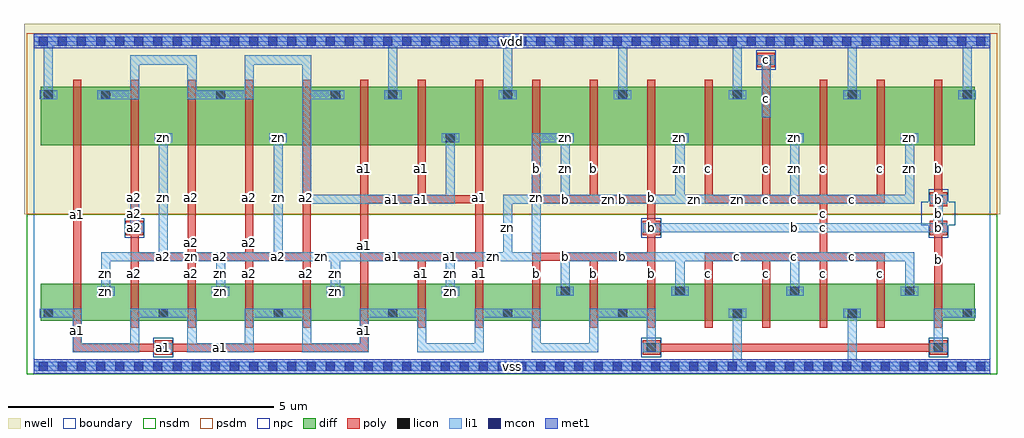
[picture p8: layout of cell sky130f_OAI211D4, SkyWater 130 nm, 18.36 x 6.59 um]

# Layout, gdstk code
import gdstk
lib = gdstk.Library(unit=1e-6, precision=1e-09)
def R(c, l, rs):  # rectangles x0, y0, x1, y1
    for r in rs: c.add(gdstk.rectangle(r[:2], r[2:], *l))
def A(c, l, x, y, w, h, nx, ny, dx, dy):  # array of equal rectangles
    R(c, l, [(x+i*dx, y+j*dy, x+i*dx+w, y+j*dy+h) for i in range(nx) for j in range(ny)])
def P(c, l, *ps):  # polygons
    for p in ps: c.add(gdstk.Polygon(p, *l))
L0_0 = (0, 0)
nwell = (64, 20)
diff = (65, 20)
poly = (66, 20)
licon = (66, 44)
li1 = (67, 20)
mcon = (67, 44)
met1 = (68, 20)
nsdm = (93, 44)
psdm = (94, 20)
npc = (95, 20)
boundary = (235, 4)

sky130f_oai211d4 = lib.new_cell('sky130f_OAI211D4')
R(sky130f_oai211d4, nwell, [(-0.18,2.86,18.18,6.445)])
A(sky130f_oai211d4, diff, 0.135, 0.86, 1.37, 0.7, 16, 1, 1.08, 0)
A(sky130f_oai211d4, diff, 0.135, 0.86, 0.29, 0.29, 9, 1, 2.16, 0)
A(sky130f_oai211d4, diff, 1.215, 1.27, 0.29, 0.29, 8, 1, 2.16, 0)
A(sky130f_oai211d4, diff, 0.135, 4.16, 1.37, 1.1, 16, 1, 1.08, 0)
A(sky130f_oai211d4, diff, 7.695, 4.16, 0.29, 0.29, 5, 1, 2.16, 0)
A(sky130f_oai211d4, diff, 1.215, 4.97, 0.29, 0.29, 3, 1, 2.16, 0)
A(sky130f_oai211d4, diff, 6.615, 4.97, 0.29, 0.29, 6, 1, 2.16, 0)
R(sky130f_oai211d4, diff, [(2.295,4.16,2.585,4.45), (4.455,4.16,4.745,4.45), (0.135,4.97,0.425,5.26)])
A(sky130f_oai211d4, poly, 0.745, 0.73, 0.15, 0.96, 16, 1, 1.08, 0)
A(sky130f_oai211d4, poly, 8.305, 1.34, 0.15, 0.8, 3, 1, 1.08, 0)
A(sky130f_oai211d4, poly, 10.465, 1.34, 0.15, 0.8, 6, 1, 1.08, 0)
A(sky130f_oai211d4, poly, 1.825, 1.99, 0.15, 2.39, 4, 1, 1.08, 0)
A(sky130f_oai211d4, poly, 12.625, 1.99, 1.23, 0.15, 3, 1, 1.08, 0)
A(sky130f_oai211d4, poly, 14.785, 3.07, 0.15, 1.31, 3, 1, 1.08, 0)
A(sky130f_oai211d4, poly, 0.745, 4.03, 0.15, 1.36, 16, 1, 1.08, 0)
R(sky130f_oai211d4, poly, [(2.275,0.22,2.605,0.49), (11.455,0.22,11.785,0.49), (16.855,0.22,17.185,0.49), (0.745,0.28,0.895,1.08), (0.745,0.28,6.295,0.43), (6.145,0.28,6.295,1.08), (11.545,0.28,17.095,0.43), (0.745,1.34,0.895,4.38), (1.825,1.34,1.975,2.14), (1.825,1.34,1.975,2.14), (2.905,1.34,3.055,2.14), (2.905,1.34,3.055,2.14), (2.905,1.34,3.055,2.14), (3.985,1.34,4.135,2.14), (3.985,1.34,4.135,2.14), (3.985,1.34,4.135,2.14), (3.985,1.34,4.135,2.14), (5.065,1.34,5.215,2.14), (5.065,1.34,5.215,2.14), (6.145,1.34,6.295,3.22), (7.225,1.34,7.375,2.14), (7.225,1.34,7.375,2.14), (8.305,1.34,8.455,2.14), (16.945,1.34,17.095,2.68), (1.825,1.99,3.055,2.14), (1.825,1.99,3.055,2.14), (2.365,1.99,3.055,2.14), (2.905,1.99,3.055,2.68), (2.905,1.99,3.055,2.68), (2.905,1.99,3.055,2.68), (2.905,1.99,4.135,2.14), (2.905,1.99,4.135,2.14), (2.905,1.99,3.595,2.14), (2.905,1.99,3.595,2.14), (2.905,1.99,3.595,2.14), (3.445,1.99,4.135,2.14), (3.445,1.99,4.135,2.14), (3.985,1.99,4.135,2.68), (3.985,1.99,5.215,2.14), (3.985,1.99,5.215,2.14), (3.985,1.99,4.675,2.14), (6.145,1.99,7.375,2.14), (7.225,1.99,8.455,2.14), (8.305,1.99,8.455,4.38), (9.385,1.99,10.615,2.14), (10.465,1.99,11.695,2.14), (11.545,1.99,11.695,4.38), (14.785,1.99,14.935,3.22), (1.735,2.47,2.065,2.74), (11.455,2.47,11.785,2.74), (16.855,2.47,17.185,2.74), (14.785,2.53,14.935,3.22), (16.855,3.01,17.185,3.28), (6.145,3.07,6.295,4.38), (6.145,3.07,7.375,3.22), (6.145,3.07,8.455,3.22), (7.225,3.07,7.375,4.38), (7.225,3.07,7.375,4.38), (9.385,3.07,9.535,4.38), (9.385,3.07,10.615,3.22), (10.465,3.07,10.615,4.38), (10.465,3.07,10.615,4.38), (10.465,3.07,11.695,3.22), (12.625,3.07,12.775,4.38), (12.625,3.07,14.935,3.22), (13.705,3.07,13.855,4.38), (13.705,3.07,13.855,4.38), (13.705,3.07,14.935,3.22), (14.785,3.07,14.935,4.38), (14.785,3.07,16.015,3.22), (13.705,4.23,13.855,5.84), (13.615,5.63,13.945,5.9)])
A(sky130f_oai211d4, licon, 0.195, 0.92, 0.17, 0.17, 9, 1, 2.16, 0)
A(sky130f_oai211d4, licon, 1.275, 1.33, 0.17, 0.17, 8, 1, 2.16, 0)
A(sky130f_oai211d4, licon, 7.755, 4.22, 0.17, 0.17, 5, 1, 2.16, 0)
A(sky130f_oai211d4, licon, 1.275, 5.03, 0.17, 0.17, 3, 1, 2.16, 0)
A(sky130f_oai211d4, licon, 6.675, 5.03, 0.17, 0.17, 6, 1, 2.16, 0)
R(sky130f_oai211d4, licon, [(2.355,0.27,2.525,0.44), (11.535,0.27,11.705,0.44), (16.935,0.27,17.105,0.44), (1.815,2.52,1.985,2.69), (11.535,2.52,11.705,2.69), (16.935,2.52,17.105,2.69), (16.935,3.06,17.105,3.23), (2.355,4.22,2.525,4.39), (4.515,4.22,4.685,4.39), (0.195,5.03,0.365,5.2), (13.695,5.68,13.865,5.85)])
A(sky130f_oai211d4, li1, 0.735, 0.27, 0.17, 0.82, 3, 1, 1.08, 0)
A(sky130f_oai211d4, li1, 0.115, 0.92, 0.33, 0.17, 9, 1, 2.16, 0)
A(sky130f_oai211d4, li1, 1.195, 1.33, 0.33, 0.17, 8, 1, 2.16, 0)
A(sky130f_oai211d4, li1, 7.755, 1.33, 0.17, 0.82, 5, 1, 2.16, 0)
A(sky130f_oai211d4, li1, 3.975, 1.98, 0.71, 0.17, 3, 1, 0.54, 0)
A(sky130f_oai211d4, li1, 12.075, 3.06, 0.17, 1.33, 3, 1, 2.16, 0)
A(sky130f_oai211d4, li1, 7.675, 4.22, 0.33, 0.17, 5, 1, 2.16, 0)
A(sky130f_oai211d4, li1, 1.195, 5.03, 0.33, 0.17, 3, 1, 2.16, 0)
A(sky130f_oai211d4, li1, 1.815, 5.03, 0.17, 0.82, 3, 1, 1.08, 0)
A(sky130f_oai211d4, li1, 6.595, 5.03, 0.33, 0.17, 6, 1, 2.16, 0)
A(sky130f_oai211d4, li1, 6.675, 5.03, 0.17, 1.03, 6, 1, 2.16, 0)
R(sky130f_oai211d4, li1, [(0,-0.085,18,0.085), (13.155,0.06,13.325,1.09), (15.315,0.06,15.485,1.09), (0.735,0.27,1.985,0.44), (2.275,0.27,2.605,0.44), (2.895,0.27,4.145,0.44), (2.895,0.27,4.145,0.44), (2.895,0.27,3.065,1.09), (3.975,0.27,4.145,1.09), (3.975,0.27,4.145,1.09), (5.055,0.27,6.305,0.44), (5.055,0.27,6.305,0.44), (5.055,0.27,6.305,0.44), (5.055,0.27,5.225,1.09), (5.055,0.27,5.225,1.09), (5.055,0.27,5.225,1.09), (6.135,0.27,6.305,1.09), (6.135,0.27,6.305,1.09), (6.135,0.27,6.305,1.09), (7.215,0.27,8.465,0.44), (7.215,0.27,8.465,0.44), (7.215,0.27,8.465,0.44), (7.215,0.27,7.385,1.09), (7.215,0.27,7.385,1.09), (7.215,0.27,7.385,1.09), (8.295,0.27,8.465,1.09), (8.295,0.27,8.465,1.09), (8.295,0.27,8.465,1.09), (9.375,0.27,10.625,0.44), (9.375,0.27,10.625,0.44), (9.375,0.27,9.545,1.09), (9.375,0.27,9.545,1.09), (10.455,0.27,10.625,1.09), (10.455,0.27,10.625,1.09), (11.455,0.27,11.785,0.44), (11.535,0.27,11.705,1.09), (16.855,0.27,17.185,0.44), (16.935,0.27,17.105,1.09), (0.195,0.92,0.905,1.09), (1.815,0.92,2.525,1.09), (1.815,0.92,2.525,1.09), (2.355,0.92,3.065,1.09), (2.355,0.92,3.065,1.09), (3.975,0.92,4.685,1.09), (3.975,0.92,4.685,1.09), (4.515,0.92,5.225,1.09), (4.515,0.92,5.225,1.09), (4.515,0.92,5.225,1.09), (6.135,0.92,6.845,1.09), (6.135,0.92,6.845,1.09), (6.135,0.92,6.845,1.09), (6.675,0.92,7.385,1.09), (6.675,0.92,7.385,1.09), (6.675,0.92,7.385,1.09), (6.675,0.92,7.385,1.09), (6.675,0.92,7.385,1.09), (6.675,0.92,7.385,1.09), (8.295,0.92,9.005,1.09), (8.295,0.92,9.005,1.09), (8.295,0.92,9.005,1.09), (8.835,0.92,9.545,1.09), (8.835,0.92,9.545,1.09), (8.835,0.92,9.545,1.09), (8.835,0.92,9.545,1.09), (10.455,0.92,11.165,1.09), (10.455,0.92,11.165,1.09), (10.995,0.92,11.705,1.09), (10.995,0.92,11.705,1.09), (16.935,0.92,17.645,1.09), (1.275,1.33,1.445,2.15), (3.435,1.33,3.605,2.15), (3.435,1.33,3.605,2.15), (5.595,1.33,5.765,2.15), (5.595,1.33,5.765,2.15), (5.595,1.33,5.765,2.15), (7.755,1.33,7.925,2.15), (7.755,1.33,7.925,2.15), (7.755,1.33,7.925,2.15), (1.275,1.98,3.605,2.15), (1.815,1.98,2.525,2.15), (2.355,1.98,2.525,4.39), (2.355,1.98,3.605,2.15), (2.895,1.98,3.605,2.15), (3.435,1.98,4.145,2.15), (3.435,1.98,4.145,2.15), (3.435,1.98,4.145,2.15), (3.435,1.98,5.765,2.15), (3.435,1.98,5.765,2.15), (3.975,1.98,5.765,2.15), (3.975,1.98,4.685,2.15), (4.515,1.98,4.685,4.39), (5.055,1.98,5.765,2.15), (5.595,1.98,7.385,2.15), (5.595,1.98,7.925,2.15), (5.595,1.98,7.925,2.15), (5.595,1.98,7.925,2.15), (5.595,1.98,7.925,2.15), (7.215,1.98,7.925,2.15), (7.755,1.98,9.545,2.15), (7.755,1.98,9.005,2.15), (7.755,1.98,9.005,2.15), (7.755,1.98,9.005,2.15), (8.835,1.98,9.005,3.23), (8.835,1.98,9.005,3.23), (8.835,1.98,9.005,3.23), (9.375,1.98,9.545,4.39), (9.915,1.98,14.405,2.15), (14.235,1.98,16.565,2.15), (1.735,2.52,2.065,2.69), (1.815,2.52,1.985,3.23), (11.455,2.52,11.785,2.69), (11.535,2.52,17.105,2.69), (16.855,2.52,17.185,2.69), (16.935,2.52,17.105,3.23), (5.055,3.06,7.925,3.23), (5.055,3.06,5.225,5.85), (7.755,3.06,7.925,4.39), (8.835,3.06,9.545,3.23), (8.835,3.06,9.545,3.23), (8.835,3.06,9.545,3.23), (9.375,3.06,12.245,3.23), (9.375,3.06,12.245,3.23), (9.375,3.06,12.245,3.23), (9.915,3.06,10.085,4.39), (9.915,3.06,10.085,4.39), (9.915,3.06,10.085,4.39), (12.075,3.06,12.785,3.23), (12.075,3.06,12.245,4.39), (12.075,3.06,12.245,4.39), (12.075,3.06,14.405,3.23), (12.075,3.06,16.565,3.23), (16.855,3.06,17.185,3.23), (2.275,4.22,2.605,4.39), (4.435,4.22,4.765,4.39), (9.375,4.22,10.085,4.39), (13.695,4.69,13.865,5.85), (0.115,5.03,0.445,5.2), (0.195,5.03,0.365,6.06), (1.275,5.03,1.985,5.2), (2.895,5.03,3.605,5.2), (3.435,5.03,4.145,5.2), (3.435,5.03,4.145,5.2), (3.975,5.03,4.145,5.85), (5.055,5.03,5.765,5.2), (5.055,5.03,5.225,5.85), (1.815,5.68,3.065,5.85), (3.975,5.68,5.225,5.85), (3.975,5.68,5.225,5.85), (13.615,5.68,13.945,5.85), (0,6.035,18,6.205)])
A(sky130f_oai211d4, mcon, 0.095, -0.085, 0.17, 0.17, 50, 2, 0.36, 6.12)
R(sky130f_oai211d4, met1, [(0,-0.135,18,0.135), (0,5.985,18,6.255)])
R(sky130f_oai211d4, nsdm, [(-0.125,-0.145,18.125,0.145), (-0.125,0.145,18.125,2.86)])
R(sky130f_oai211d4, psdm, [(-0.125,2.86,18.125,5.975), (-0.125,5.975,18.125,6.265)])
R(sky130f_oai211d4, npc, [(2.255,0.17,2.625,0.54), (11.435,0.17,11.805,0.54), (16.835,0.17,17.205,0.54), (1.715,2.42,2.085,2.79), (11.435,2.42,11.805,2.79), (13.595,5.58,13.965,5.95)])
P(sky130f_oai211d4, npc, [(16.835,2.42),(16.835,2.655),(16.7,2.655),(16.7,3.095),(16.835,3.095),(16.835,3.33),(17.205,3.33),(17.205,3.095),(17.34,3.095),(17.34,2.655),(17.205,2.655),(17.205,2.42)])
R(sky130f_oai211d4, boundary, [(0,0,18,6.12)])
sky130f_oai211d4.add(gdstk.FlexPath([(0.115,0.355),(17.725,0.355)], 0, ends="flush", simple_path=True, layer=0, datatype=0))  # L0_0
sky130f_oai211d4.add(gdstk.FlexPath([(0.115,1.005),(17.725,1.005)], 0, ends="flush", simple_path=True, layer=0, datatype=0))  # L0_0
sky130f_oai211d4.add(gdstk.FlexPath([(0.115,1.415),(17.725,1.415)], 0, ends="flush", simple_path=True, layer=0, datatype=0))  # L0_0
sky130f_oai211d4.add(gdstk.FlexPath([(0.115,2.065),(17.725,2.065)], 0, ends="flush", simple_path=True, layer=0, datatype=0))  # L0_0
sky130f_oai211d4.add(gdstk.FlexPath([(0.115,2.605),(17.725,2.605)], 0, ends="flush", simple_path=True, layer=0, datatype=0))  # L0_0
sky130f_oai211d4.add(gdstk.FlexPath([(0.115,3.145),(17.725,3.145)], 0, ends="flush", simple_path=True, layer=0, datatype=0))  # L0_0
sky130f_oai211d4.add(gdstk.FlexPath([(0.115,4.305),(17.725,4.305)], 0, ends="flush", simple_path=True, layer=0, datatype=0))  # L0_0
sky130f_oai211d4.add(gdstk.FlexPath([(0.115,4.775),(17.725,4.775)], 0, ends="flush", simple_path=True, layer=0, datatype=0))  # L0_0
sky130f_oai211d4.add(gdstk.FlexPath([(0.115,5.115),(17.725,5.115)], 0, ends="flush", simple_path=True, layer=0, datatype=0))  # L0_0
sky130f_oai211d4.add(gdstk.FlexPath([(0.115,5.765),(17.725,5.765)], 0, ends="flush", simple_path=True, layer=0, datatype=0))  # L0_0
sky130f_oai211d4.add(gdstk.FlexPath([(0.28,0.06),(0.28,6.06)], 0, ends="flush", simple_path=True, layer=0, datatype=0))  # L0_0
sky130f_oai211d4.add(gdstk.FlexPath([(0.82,0.06),(0.82,6.06)], 0, ends="flush", simple_path=True, layer=0, datatype=0))  # L0_0
sky130f_oai211d4.add(gdstk.FlexPath([(1.36,0.06),(1.36,6.06)], 0, ends="flush", simple_path=True, layer=0, datatype=0))  # L0_0
sky130f_oai211d4.add(gdstk.FlexPath([(1.9,0.06),(1.9,6.06)], 0, ends="flush", simple_path=True, layer=0, datatype=0))  # L0_0
sky130f_oai211d4.add(gdstk.FlexPath([(2.44,0.06),(2.44,6.06)], 0, ends="flush", simple_path=True, layer=0, datatype=0))  # L0_0
sky130f_oai211d4.add(gdstk.FlexPath([(2.98,0.06),(2.98,6.06)], 0, ends="flush", simple_path=True, layer=0, datatype=0))  # L0_0
sky130f_oai211d4.add(gdstk.FlexPath([(3.52,0.06),(3.52,6.06)], 0, ends="flush", simple_path=True, layer=0, datatype=0))  # L0_0
sky130f_oai211d4.add(gdstk.FlexPath([(4.06,0.06),(4.06,6.06)], 0, ends="flush", simple_path=True, layer=0, datatype=0))  # L0_0
sky130f_oai211d4.add(gdstk.FlexPath([(4.6,0.06),(4.6,6.06)], 0, ends="flush", simple_path=True, layer=0, datatype=0))  # L0_0
sky130f_oai211d4.add(gdstk.FlexPath([(5.14,0.06),(5.14,6.06)], 0, ends="flush", simple_path=True, layer=0, datatype=0))  # L0_0
sky130f_oai211d4.add(gdstk.FlexPath([(5.68,0.06),(5.68,6.06)], 0, ends="flush", simple_path=True, layer=0, datatype=0))  # L0_0
sky130f_oai211d4.add(gdstk.FlexPath([(6.22,0.06),(6.22,6.06)], 0, ends="flush", simple_path=True, layer=0, datatype=0))  # L0_0
sky130f_oai211d4.add(gdstk.FlexPath([(6.76,0.06),(6.76,6.06)], 0, ends="flush", simple_path=True, layer=0, datatype=0))  # L0_0
sky130f_oai211d4.add(gdstk.FlexPath([(7.3,0.06),(7.3,6.06)], 0, ends="flush", simple_path=True, layer=0, datatype=0))  # L0_0
sky130f_oai211d4.add(gdstk.FlexPath([(7.84,0.06),(7.84,6.06)], 0, ends="flush", simple_path=True, layer=0, datatype=0))  # L0_0
sky130f_oai211d4.add(gdstk.FlexPath([(8.38,0.06),(8.38,6.06)], 0, ends="flush", simple_path=True, layer=0, datatype=0))  # L0_0
sky130f_oai211d4.add(gdstk.FlexPath([(8.92,0.06),(8.92,6.06)], 0, ends="flush", simple_path=True, layer=0, datatype=0))  # L0_0
sky130f_oai211d4.add(gdstk.FlexPath([(9.46,0.06),(9.46,6.06)], 0, ends="flush", simple_path=True, layer=0, datatype=0))  # L0_0
sky130f_oai211d4.add(gdstk.FlexPath([(10,0.06),(10,6.06)], 0, ends="flush", simple_path=True, layer=0, datatype=0))  # L0_0
sky130f_oai211d4.add(gdstk.FlexPath([(10.54,0.06),(10.54,6.06)], 0, ends="flush", simple_path=True, layer=0, datatype=0))  # L0_0
sky130f_oai211d4.add(gdstk.FlexPath([(11.08,0.06),(11.08,6.06)], 0, ends="flush", simple_path=True, layer=0, datatype=0))  # L0_0
sky130f_oai211d4.add(gdstk.FlexPath([(11.62,0.06),(11.62,6.06)], 0, ends="flush", simple_path=True, layer=0, datatype=0))  # L0_0
sky130f_oai211d4.add(gdstk.FlexPath([(12.16,0.06),(12.16,6.06)], 0, ends="flush", simple_path=True, layer=0, datatype=0))  # L0_0
sky130f_oai211d4.add(gdstk.FlexPath([(12.7,0.06),(12.7,6.06)], 0, ends="flush", simple_path=True, layer=0, datatype=0))  # L0_0
sky130f_oai211d4.add(gdstk.FlexPath([(13.24,0.06),(13.24,6.06)], 0, ends="flush", simple_path=True, layer=0, datatype=0))  # L0_0
sky130f_oai211d4.add(gdstk.FlexPath([(13.78,0.06),(13.78,6.06)], 0, ends="flush", simple_path=True, layer=0, datatype=0))  # L0_0
sky130f_oai211d4.add(gdstk.FlexPath([(14.32,0.06),(14.32,6.06)], 0, ends="flush", simple_path=True, layer=0, datatype=0))  # L0_0
sky130f_oai211d4.add(gdstk.FlexPath([(14.86,0.06),(14.86,6.06)], 0, ends="flush", simple_path=True, layer=0, datatype=0))  # L0_0
sky130f_oai211d4.add(gdstk.FlexPath([(15.4,0.06),(15.4,6.06)], 0, ends="flush", simple_path=True, layer=0, datatype=0))  # L0_0
sky130f_oai211d4.add(gdstk.FlexPath([(15.94,0.06),(15.94,6.06)], 0, ends="flush", simple_path=True, layer=0, datatype=0))  # L0_0
sky130f_oai211d4.add(gdstk.FlexPath([(16.48,0.06),(16.48,6.06)], 0, ends="flush", simple_path=True, layer=0, datatype=0))  # L0_0
sky130f_oai211d4.add(gdstk.FlexPath([(17.02,0.06),(17.02,6.06)], 0, ends="flush", simple_path=True, layer=0, datatype=0))  # L0_0
sky130f_oai211d4.add(gdstk.FlexPath([(17.56,0.06),(17.56,6.06)], 0, ends="flush", simple_path=True, layer=0, datatype=0))  # L0_0
sky130f_oai211d4.add(gdstk.Label('zn', (1.36,1.415), layer=65, texttype=20))
sky130f_oai211d4.add(gdstk.Label('zn', (3.52,1.415), layer=65, texttype=20))
sky130f_oai211d4.add(gdstk.Label('zn', (5.68,1.415), layer=65, texttype=20))
sky130f_oai211d4.add(gdstk.Label('zn', (7.84,1.415), layer=65, texttype=20))
sky130f_oai211d4.add(gdstk.Label('zn', (2.44,4.305), layer=65, texttype=20))
sky130f_oai211d4.add(gdstk.Label('zn', (4.6,4.305), layer=65, texttype=20))
sky130f_oai211d4.add(gdstk.Label('zn', (10,4.305), layer=65, texttype=20))
sky130f_oai211d4.add(gdstk.Label('zn', (12.16,4.305), layer=65, texttype=20))
sky130f_oai211d4.add(gdstk.Label('zn', (16.48,4.305), layer=65, texttype=20))
sky130f_oai211d4.add(gdstk.Label('zn', (14.32,4.305), layer=65, texttype=20))
sky130f_oai211d4.add(gdstk.Label('a2', (1.9,1.74), layer=66, texttype=20))
sky130f_oai211d4.add(gdstk.Label('a2', (2.44,2.065), layer=66, texttype=20))
sky130f_oai211d4.add(gdstk.Label('a2', (2.98,1.74), layer=66, texttype=20))
sky130f_oai211d4.add(gdstk.Label('a2', (3.52,2.065), layer=66, texttype=20))
sky130f_oai211d4.add(gdstk.Label('a2', (4.06,1.74), layer=66, texttype=20))
sky130f_oai211d4.add(gdstk.Label('a2', (4.6,2.065), layer=66, texttype=20))
sky130f_oai211d4.add(gdstk.Label('a2', (5.14,1.74), layer=66, texttype=20))
sky130f_oai211d4.add(gdstk.Label('a2', (1.9,3.185), layer=66, texttype=20))
sky130f_oai211d4.add(gdstk.Label('a2', (2.98,3.185), layer=66, texttype=20))
sky130f_oai211d4.add(gdstk.Label('a2', (4.06,3.185), layer=66, texttype=20))
sky130f_oai211d4.add(gdstk.Label('a2', (5.14,3.185), layer=66, texttype=20))
sky130f_oai211d4.add(gdstk.Label('a2', (2.98,1.74), layer=66, texttype=20))
sky130f_oai211d4.add(gdstk.Label('a2', (3.52,2.065), layer=66, texttype=20))
sky130f_oai211d4.add(gdstk.Label('a2', (1.9,1.74), layer=66, texttype=20))
sky130f_oai211d4.add(gdstk.Label('a2', (2.98,1.74), layer=66, texttype=20))
sky130f_oai211d4.add(gdstk.Label('a2', (3.79,2.065), layer=66, texttype=20))
sky130f_oai211d4.add(gdstk.Label('a2', (4.6,2.065), layer=66, texttype=20))
sky130f_oai211d4.add(gdstk.Label('a2', (4.06,1.74), layer=66, texttype=20))
sky130f_oai211d4.add(gdstk.Label('a2', (2.44,2.065), layer=66, texttype=20))
sky130f_oai211d4.add(gdstk.Label('a2', (2.98,2.335), layer=66, texttype=20))
sky130f_oai211d4.add(gdstk.Label('a2', (4.06,1.74), layer=66, texttype=20))
sky130f_oai211d4.add(gdstk.Label('a2', (4.06,1.74), layer=66, texttype=20))
sky130f_oai211d4.add(gdstk.Label('a2', (2.71,2.065), layer=66, texttype=20))
sky130f_oai211d4.add(gdstk.Label('a2', (2.98,2.335), layer=66, texttype=20))
sky130f_oai211d4.add(gdstk.Label('a2', (4.06,2.335), layer=66, texttype=20))
sky130f_oai211d4.add(gdstk.Label('a2', (5.14,1.74), layer=66, texttype=20))
sky130f_oai211d4.add(gdstk.Label('a2', (2.98,2.335), layer=66, texttype=20))
sky130f_oai211d4.add(gdstk.Label('a2', (3.25,2.065), layer=66, texttype=20))
sky130f_oai211d4.add(gdstk.Label('a2', (3.79,2.065), layer=66, texttype=20))
sky130f_oai211d4.add(gdstk.Label('a2', (3.25,2.065), layer=66, texttype=20))
sky130f_oai211d4.add(gdstk.Label('a2', (3.25,2.065), layer=66, texttype=20))
sky130f_oai211d4.add(gdstk.Label('a2', (4.33,2.065), layer=66, texttype=20))
sky130f_oai211d4.add(gdstk.Label('a2', (1.9,2.605), layer=66, texttype=20))
sky130f_oai211d4.add(gdstk.Label('a1', (0.82,0.68), layer=66, texttype=20))
sky130f_oai211d4.add(gdstk.Label('a1', (3.52,0.355), layer=66, texttype=20))
sky130f_oai211d4.add(gdstk.Label('a1', (6.22,0.68), layer=66, texttype=20))
sky130f_oai211d4.add(gdstk.Label('a1', (0.82,2.86), layer=66, texttype=20))
sky130f_oai211d4.add(gdstk.Label('a1', (6.22,2.28), layer=66, texttype=20))
sky130f_oai211d4.add(gdstk.Label('a1', (6.76,3.145), layer=66, texttype=20))
sky130f_oai211d4.add(gdstk.Label('a1', (7.3,3.725), layer=66, texttype=20))
sky130f_oai211d4.add(gdstk.Label('a1', (7.3,1.74), layer=66, texttype=20))
sky130f_oai211d4.add(gdstk.Label('a1', (7.84,2.065), layer=66, texttype=20))
sky130f_oai211d4.add(gdstk.Label('a1', (8.38,1.74), layer=66, texttype=20))
sky130f_oai211d4.add(gdstk.Label('a1', (6.76,2.065), layer=66, texttype=20))
sky130f_oai211d4.add(gdstk.Label('a1', (8.38,3.185), layer=66, texttype=20))
sky130f_oai211d4.add(gdstk.Label('a1', (7.3,1.74), layer=66, texttype=20))
sky130f_oai211d4.add(gdstk.Label('a1', (8.38,1.74), layer=66, texttype=20))
sky130f_oai211d4.add(gdstk.Label('a1', (6.22,3.725), layer=66, texttype=20))
sky130f_oai211d4.add(gdstk.Label('a1', (7.3,3.145), layer=66, texttype=20))
sky130f_oai211d4.add(gdstk.Label('a1', (7.3,3.725), layer=66, texttype=20))
sky130f_oai211d4.add(gdstk.Label('a1', (2.44,0.355), layer=66, texttype=20))
sky130f_oai211d4.add(gdstk.Label('b', (9.46,1.74), layer=66, texttype=20))
sky130f_oai211d4.add(gdstk.Label('b', (10,2.065), layer=66, texttype=20))
sky130f_oai211d4.add(gdstk.Label('b', (10.54,1.74), layer=66, texttype=20))
sky130f_oai211d4.add(gdstk.Label('b', (11.08,2.065), layer=66, texttype=20))
sky130f_oai211d4.add(gdstk.Label('b', (11.62,1.74), layer=66, texttype=20))
sky130f_oai211d4.add(gdstk.Label('b', (10.54,1.74), layer=66, texttype=20))
sky130f_oai211d4.add(gdstk.Label('b', (11.62,3.185), layer=66, texttype=20))
sky130f_oai211d4.add(gdstk.Label('b', (11.62,2.605), layer=66, texttype=20))
sky130f_oai211d4.add(gdstk.Label('b', (17.02,3.145), layer=66, texttype=20))
sky130f_oai211d4.add(gdstk.Label('b', (17.02,3.725), layer=66, texttype=20))
sky130f_oai211d4.add(gdstk.Label('b', (17.02,2.01), layer=66, texttype=20))
sky130f_oai211d4.add(gdstk.Label('b', (17.02,2.605), layer=66, texttype=20))
sky130f_oai211d4.add(gdstk.Label('b', (9.46,3.725), layer=66, texttype=20))
sky130f_oai211d4.add(gdstk.Label('b', (10,3.145), layer=66, texttype=20))
sky130f_oai211d4.add(gdstk.Label('b', (10.54,3.725), layer=66, texttype=20))
sky130f_oai211d4.add(gdstk.Label('b', (11.08,3.145), layer=66, texttype=20))
sky130f_oai211d4.add(gdstk.Label('b', (10.54,3.725), layer=66, texttype=20))
sky130f_oai211d4.add(gdstk.Label('c', (12.7,1.74), layer=66, texttype=20))
sky130f_oai211d4.add(gdstk.Label('c', (13.24,2.065), layer=66, texttype=20))
sky130f_oai211d4.add(gdstk.Label('c', (13.78,1.74), layer=66, texttype=20))
sky130f_oai211d4.add(gdstk.Label('c', (14.32,2.065), layer=66, texttype=20))
sky130f_oai211d4.add(gdstk.Label('c', (14.86,1.74), layer=66, texttype=20))
sky130f_oai211d4.add(gdstk.Label('c', (15.4,2.065), layer=66, texttype=20))
sky130f_oai211d4.add(gdstk.Label('c', (15.94,1.74), layer=66, texttype=20))
sky130f_oai211d4.add(gdstk.Label('c', (14.86,2.605), layer=66, texttype=20))
sky130f_oai211d4.add(gdstk.Label('c', (14.32,3.145), layer=66, texttype=20))
sky130f_oai211d4.add(gdstk.Label('c', (13.78,3.725), layer=66, texttype=20))
sky130f_oai211d4.add(gdstk.Label('c', (12.7,3.725), layer=66, texttype=20))
sky130f_oai211d4.add(gdstk.Label('c', (13.78,3.145), layer=66, texttype=20))
sky130f_oai211d4.add(gdstk.Label('c', (14.86,3.725), layer=66, texttype=20))
sky130f_oai211d4.add(gdstk.Label('c', (15.4,3.145), layer=66, texttype=20))
sky130f_oai211d4.add(gdstk.Label('c', (15.94,3.725), layer=66, texttype=20))
sky130f_oai211d4.add(gdstk.Label('c', (13.78,3.725), layer=66, texttype=20))
sky130f_oai211d4.add(gdstk.Label('c', (14.86,2.875), layer=66, texttype=20))
sky130f_oai211d4.add(gdstk.Label('c', (14.86,3.725), layer=66, texttype=20))
sky130f_oai211d4.add(gdstk.Label('c', (13.78,5.035), layer=66, texttype=20))
sky130f_oai211d4.add(gdstk.Label('c', (13.78,5.765), layer=66, texttype=20))
sky130f_oai211d4.add(gdstk.Label('zn', (1.36,1.415), layer=66, texttype=44))
sky130f_oai211d4.add(gdstk.Label('zn', (3.52,1.415), layer=66, texttype=44))
sky130f_oai211d4.add(gdstk.Label('zn', (5.68,1.415), layer=66, texttype=44))
sky130f_oai211d4.add(gdstk.Label('zn', (7.84,1.415), layer=66, texttype=44))
sky130f_oai211d4.add(gdstk.Label('zn', (2.44,4.305), layer=66, texttype=44))
sky130f_oai211d4.add(gdstk.Label('zn', (4.6,4.305), layer=66, texttype=44))
sky130f_oai211d4.add(gdstk.Label('zn', (10,4.305), layer=66, texttype=44))
sky130f_oai211d4.add(gdstk.Label('zn', (12.16,4.305), layer=66, texttype=44))
sky130f_oai211d4.add(gdstk.Label('zn', (16.48,4.305), layer=66, texttype=44))
sky130f_oai211d4.add(gdstk.Label('zn', (14.32,4.305), layer=66, texttype=44))
sky130f_oai211d4.add(gdstk.Label('a2', (1.9,2.605), layer=66, texttype=44))
sky130f_oai211d4.add(gdstk.Label('a1', (2.44,0.355), layer=66, texttype=44))
sky130f_oai211d4.add(gdstk.Label('b', (11.62,2.605), layer=66, texttype=44))
sky130f_oai211d4.add(gdstk.Label('b', (17.02,3.145), layer=66, texttype=44))
sky130f_oai211d4.add(gdstk.Label('b', (17.02,2.605), layer=66, texttype=44))
sky130f_oai211d4.add(gdstk.Label('c', (13.78,5.765), layer=66, texttype=44))
sky130f_oai211d4.add(gdstk.Label('zn', (1.36,1.415), layer=67, texttype=5))
sky130f_oai211d4.add(gdstk.Label('zn', (3.52,1.415), layer=67, texttype=5))
sky130f_oai211d4.add(gdstk.Label('zn', (5.68,1.415), layer=67, texttype=5))
sky130f_oai211d4.add(gdstk.Label('zn', (7.84,1.415), layer=67, texttype=5))
sky130f_oai211d4.add(gdstk.Label('zn', (2.44,4.305), layer=67, texttype=5))
sky130f_oai211d4.add(gdstk.Label('zn', (4.6,4.305), layer=67, texttype=5))
sky130f_oai211d4.add(gdstk.Label('zn', (10,4.305), layer=67, texttype=5))
sky130f_oai211d4.add(gdstk.Label('zn', (12.16,4.305), layer=67, texttype=5))
sky130f_oai211d4.add(gdstk.Label('zn', (16.48,4.305), layer=67, texttype=5))
sky130f_oai211d4.add(gdstk.Label('zn', (14.32,4.305), layer=67, texttype=5))
sky130f_oai211d4.add(gdstk.Label('zn', (1.36,1.74), layer=67, texttype=5))
sky130f_oai211d4.add(gdstk.Label('zn', (2.44,2.065), layer=67, texttype=5))
sky130f_oai211d4.add(gdstk.Label('zn', (3.52,1.74), layer=67, texttype=5))
sky130f_oai211d4.add(gdstk.Label('zn', (4.6,2.065), layer=67, texttype=5))
sky130f_oai211d4.add(gdstk.Label('zn', (5.68,1.74), layer=67, texttype=5))
sky130f_oai211d4.add(gdstk.Label('zn', (6.76,2.065), layer=67, texttype=5))
sky130f_oai211d4.add(gdstk.Label('zn', (7.84,1.74), layer=67, texttype=5))
sky130f_oai211d4.add(gdstk.Label('zn', (2.44,3.185), layer=67, texttype=5))
sky130f_oai211d4.add(gdstk.Label('zn', (4.6,3.185), layer=67, texttype=5))
sky130f_oai211d4.add(gdstk.Label('zn', (8.65,2.065), layer=67, texttype=5))
sky130f_oai211d4.add(gdstk.Label('zn', (9.46,3.185), layer=67, texttype=5))
sky130f_oai211d4.add(gdstk.Label('zn', (9.73,4.305), layer=67, texttype=5))
sky130f_oai211d4.add(gdstk.Label('zn', (10.81,3.145), layer=67, texttype=5))
sky130f_oai211d4.add(gdstk.Label('zn', (12.16,3.725), layer=67, texttype=5))
sky130f_oai211d4.add(gdstk.Label('zn', (14.32,3.145), layer=67, texttype=5))
sky130f_oai211d4.add(gdstk.Label('zn', (16.48,3.725), layer=67, texttype=5))
sky130f_oai211d4.add(gdstk.Label('zn', (14.32,3.725), layer=67, texttype=5))
sky130f_oai211d4.add(gdstk.Label('zn', (3.52,1.74), layer=67, texttype=5))
sky130f_oai211d4.add(gdstk.Label('zn', (4.6,2.065), layer=67, texttype=5))
sky130f_oai211d4.add(gdstk.Label('zn', (2.17,2.065), layer=67, texttype=5))
sky130f_oai211d4.add(gdstk.Label('zn', (4.33,2.065), layer=67, texttype=5))
sky130f_oai211d4.add(gdstk.Label('zn', (6.76,2.065), layer=67, texttype=5))
sky130f_oai211d4.add(gdstk.Label('zn', (8.38,2.065), layer=67, texttype=5))
sky130f_oai211d4.add(gdstk.Label('zn', (8.92,2.605), layer=67, texttype=5))
sky130f_oai211d4.add(gdstk.Label('zn', (9.19,3.145), layer=67, texttype=5))
sky130f_oai211d4.add(gdstk.Label('zn', (10.81,3.145), layer=67, texttype=5))
sky130f_oai211d4.add(gdstk.Label('zn', (13.24,3.145), layer=67, texttype=5))
sky130f_oai211d4.add(gdstk.Label('zn', (5.68,1.74), layer=67, texttype=5))
sky130f_oai211d4.add(gdstk.Label('zn', (2.98,2.065), layer=67, texttype=5))
sky130f_oai211d4.add(gdstk.Label('zn', (3.79,2.065), layer=67, texttype=5))
sky130f_oai211d4.add(gdstk.Label('zn', (5.68,1.74), layer=67, texttype=5))
sky130f_oai211d4.add(gdstk.Label('zn', (6.76,2.065), layer=67, texttype=5))
sky130f_oai211d4.add(gdstk.Label('zn', (8.38,2.065), layer=67, texttype=5))
sky130f_oai211d4.add(gdstk.Label('zn', (8.92,2.605), layer=67, texttype=5))
sky130f_oai211d4.add(gdstk.Label('zn', (9.19,3.145), layer=67, texttype=5))
sky130f_oai211d4.add(gdstk.Label('zn', (10.81,3.145), layer=67, texttype=5))
sky130f_oai211d4.add(gdstk.Label('zn', (3.25,2.065), layer=67, texttype=5))
sky130f_oai211d4.add(gdstk.Label('zn', (3.79,2.065), layer=67, texttype=5))
sky130f_oai211d4.add(gdstk.Label('zn', (7.84,1.74), layer=67, texttype=5))
sky130f_oai211d4.add(gdstk.Label('zn', (7.84,1.74), layer=67, texttype=5))
sky130f_oai211d4.add(gdstk.Label('zn', (7.84,1.74), layer=67, texttype=5))
sky130f_oai211d4.add(gdstk.Label('zn', (8.38,2.065), layer=67, texttype=5))
sky130f_oai211d4.add(gdstk.Label('zn', (8.92,2.605), layer=67, texttype=5))
sky130f_oai211d4.add(gdstk.Label('zn', (9.19,3.145), layer=67, texttype=5))
sky130f_oai211d4.add(gdstk.Label('zn', (3.79,2.065), layer=67, texttype=5))
sky130f_oai211d4.add(gdstk.Label('zn', (4.87,2.065), layer=67, texttype=5))
sky130f_oai211d4.add(gdstk.Label('zn', (5.41,2.065), layer=67, texttype=5))
sky130f_oai211d4.add(gdstk.Label('zn', (6.76,2.065), layer=67, texttype=5))
sky130f_oai211d4.add(gdstk.Label('zn', (7.57,2.065), layer=67, texttype=5))
sky130f_oai211d4.add(gdstk.Label('zn', (4.33,2.065), layer=67, texttype=5))
sky130f_oai211d4.add(gdstk.Label('zn', (4.87,2.065), layer=67, texttype=5))
sky130f_oai211d4.add(gdstk.Label('zn', (5.41,2.065), layer=67, texttype=5))
sky130f_oai211d4.add(gdstk.Label('zn', (6.49,2.065), layer=67, texttype=5))
sky130f_oai211d4.add(gdstk.Label('zn', (10,3.725), layer=67, texttype=5))
sky130f_oai211d4.add(gdstk.Label('zn', (10,3.725), layer=67, texttype=5))
sky130f_oai211d4.add(gdstk.Label('zn', (10,3.725), layer=67, texttype=5))
sky130f_oai211d4.add(gdstk.Label('zn', (12.16,3.725), layer=67, texttype=5))
sky130f_oai211d4.add(gdstk.Label('zn', (12.16,3.725), layer=67, texttype=5))
sky130f_oai211d4.add(gdstk.Label('zn', (12.43,3.145), layer=67, texttype=5))
sky130f_oai211d4.add(gdstk.Label('a2', (1.9,2.605), layer=67, texttype=5))
sky130f_oai211d4.add(gdstk.Label('a2', (1.9,2.875), layer=67, texttype=5))
sky130f_oai211d4.add(gdstk.Label('a1', (2.44,0.355), layer=67, texttype=5))
sky130f_oai211d4.add(gdstk.Label('b', (11.62,2.605), layer=67, texttype=5))
sky130f_oai211d4.add(gdstk.Label('b', (14.32,2.605), layer=67, texttype=5))
sky130f_oai211d4.add(gdstk.Label('b', (17.02,2.875), layer=67, texttype=5))
sky130f_oai211d4.add(gdstk.Label('b', (17.02,3.145), layer=67, texttype=5))
sky130f_oai211d4.add(gdstk.Label('b', (17.02,2.605), layer=67, texttype=5))
sky130f_oai211d4.add(gdstk.Label('c', (13.78,5.765), layer=67, texttype=5))
sky130f_oai211d4.add(gdstk.Label('c', (13.78,5.27), layer=67, texttype=5))
sky130f_oai211d4.add(gdstk.Label('vss', (9,0), layer=67, texttype=5))
sky130f_oai211d4.add(gdstk.Label('vdd', (9,6.12), layer=67, texttype=5))
sky130f_oai211d4.add(gdstk.Label('vss', (9,0), layer=68, texttype=5))
sky130f_oai211d4.add(gdstk.Label('vdd', (9,6.12), layer=68, texttype=5))

lib.write_gds('sky130f_OAI211D4.gds')
